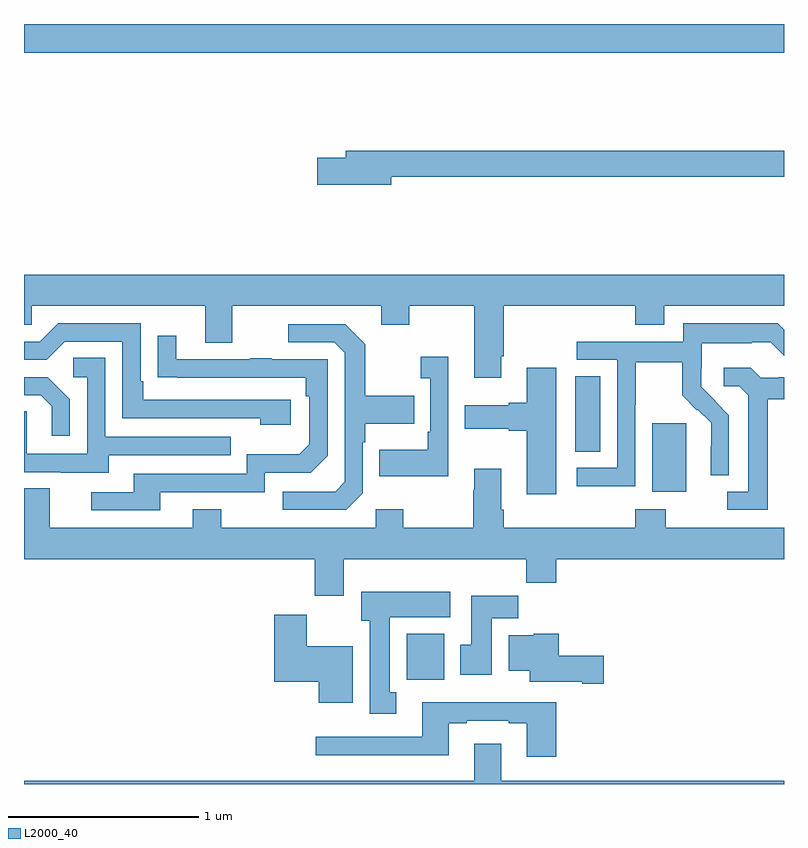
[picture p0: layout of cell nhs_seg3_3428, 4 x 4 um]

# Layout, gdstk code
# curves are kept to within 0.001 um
import gdstk
lib = gdstk.Library(unit=1e-6, precision=1e-09)
def R(c, l, rs):  # rectangles x0, y0, x1, y1
    for r in rs: c.add(gdstk.rectangle(r[:2], r[2:], *l))
def P(c, l, *ps):  # polygons
    for p in ps: c.add(gdstk.Polygon(p, *l))
L2000_40 = (2000, 40)

nhs_seg3_3428 = lib.new_cell('nhs_seg3_3428')
R(nhs_seg3_3428, L2000_40, [(291.014,698.948,291.211,699.19), (292.307,699.938,292.486,700.299), (291.902,700.15,292.033,700.547), (289,702.248,293,702.4)])
P(nhs_seg3_3428, L2000_40, [(290.932,701.596),(293,701.596),(293,701.732),(290.693,701.732),(290.693,701.696),(290.544,701.696),(290.544,701.554),(290.932,701.554)],
  [(289,700.818),(289.041,700.818),(289.041,700.916),(289.955,700.916),(289.955,700.722),(290.095,700.722),(290.095,700.916),(290.879,700.916),(290.879,700.817),(291.027,700.817),(291.027,700.916),(291.371,700.916),(291.371,700.539),(291.511,700.539),(291.511,700.651),(291.524,700.651),(291.524,700.916),(292.217,700.916),(292.217,700.817),(292.369,700.817),(292.369,700.916),(293,700.916),(293,701.08),(289,701.08)],
  [(292.218,700.396),(292.221,700.396),(292.221,700.62),(292.465,700.62),(292.465,700.445),(292.542,700.368),(292.545,700.371),(292.616,700.301),(292.616,700.178),(292.614,700.178),(292.614,700.024),(292.71,700.024),(292.71,700.342),(292.564,700.49),(292.564,700.587),(292.566,700.587),(292.566,700.721),(292.829,700.721),(292.829,700.725),(292.929,700.725),(293,700.654),(293,700.792),(292.967,700.825),(292.47,700.825),(292.47,700.728),(291.909,700.728),(291.909,700.632),(292.122,700.632),(292.122,700.065),(291.909,700.065),(291.909,699.967),(292.218,699.967)],
  [(290.404,700.422),(289.627,700.422),(289.627,700.519),(289.614,700.519),(289.614,700.824),(289.179,700.824),(289.083,700.728),(289,700.728),(289,700.632),(289.119,700.632),(289.215,700.728),(289.518,700.728),(289.518,700.326),(290.243,700.326),(290.243,700.292),(290.404,700.292)],
  [(290.784,699.93),(290.784,700.199),(290.797,700.199),(290.797,700.295),(291.053,700.295),(291.053,700.443),(290.797,700.443),(290.797,700.715),(290.691,700.821),(290.391,700.821),(290.391,700.725),(290.634,700.725),(290.688,700.671),(290.688,699.99),(290.637,699.939),(290.361,699.939),(290.361,699.843),(290.697,699.843)],
  [(289.717,699.936),(290.268,699.936),(290.268,700.038),(290.508,700.038),(290.598,700.128),(290.598,700.635),(290.303,700.635),(290.303,700.64),(290.191,700.64),(290.191,700.635),(289.801,700.635),(289.801,700.759),(289.705,700.759),(289.705,700.54),(290.482,700.539),(290.482,700.442),(290.502,700.442),(290.502,700.188),(290.449,700.135),(290.172,700.135),(290.172,700.032),(289.577,700.032),(289.577,699.936),(289.353,699.936),(289.353,699.84),(289.717,699.84)],
  [(291.234,700.648),(291.087,700.648),(291.087,700.535),(291.138,700.535),(291.138,700.255),(291.126,700.255),(291.126,700.159),(290.869,700.159),(290.869,700.019),(291.234,700.019)],
  [(289.447,700.131),(290.087,700.131),(290.087,700.227),(289.428,700.227),(289.428,700.643),(289.26,700.643),(289.26,700.542),(289.332,700.542),(289.332,700.137),(289.014,700.137),(289.014,700.361),(289,700.361),(289,700.041),(289.193,700.041),(289.193,700.037),(289.447,700.037)],
  [(291.802,700.591),(291.647,700.591),(291.647,700.406),(291.551,700.406),(291.551,700.393),(291.321,700.393),(291.321,700.271),(291.551,700.271),(291.551,700.259),(291.647,700.259),(291.647,699.924),(291.802,699.924)],
  [(292.915,700.424),(293,700.424),(293,700.542),(292.972,700.542),(292.972,700.539),(292.878,700.539),(292.826,700.591),(292.683,700.591),(292.683,700.494),(292.764,700.494),(292.811,700.447),(292.811,699.939),(292.701,699.939),(292.701,699.843),(292.915,699.843)],
  [(289.242,700.426),(289.126,700.542),(289,700.542),(289,700.446),(289.088,700.446),(289.145,700.389),(289.145,700.233),(289.242,700.233)],
  [(290.683,699.584),(291.643,699.584),(291.643,699.46),(291.8,699.46),(291.8,699.584),(293,699.584),(293,699.748),(292.377,699.748),(292.377,699.847),(292.217,699.847),(292.217,699.748),(291.524,699.748),(291.524,699.844),(291.511,699.844),(291.511,700.06),(291.371,700.06),(291.371,699.947),(291.364,699.947),(291.364,699.748),(290.997,699.748),(290.997,699.847),(290.85,699.847),(290.85,699.748),(290.037,699.748),(290.037,699.847),(289.889,699.847),(289.889,699.748),(289.135,699.748),(289.135,699.956),(289,699.956),(289,699.584),(290.531,699.584),(290.531,699.39),(290.683,699.39)],
  [(290.959,698.882),(290.926,698.882),(290.926,699.278),(291.244,699.278),(291.244,699.412),(290.774,699.412),(290.774,699.258),(290.819,699.258),(290.819,698.769),(290.959,698.769)],
  [(291.463,699.272),(291.602,699.272),(291.602,699.391),(291.353,699.391),(291.353,699.132),(291.296,699.132),(291.296,698.976),(291.463,698.976)],
  [(290.731,699.124),(290.488,699.124),(290.488,699.292),(290.318,699.292),(290.318,698.939),(290.552,698.939),(290.552,698.828),(290.731,698.828)],
  [(292.051,699.074),(291.815,699.074),(291.815,699.19),(291.684,699.19),(291.684,699.184),(291.551,699.184),(291.551,698.996),(291.662,698.996),(291.662,698.939),(291.938,698.939),(291.938,698.927),(292.051,698.927)],
  [(291.8,698.83),(291.095,698.83),(291.095,698.649),(290.535,698.649),(290.535,698.552),(291.235,698.552),(291.235,698.721),(291.331,698.721),(291.331,698.733),(291.551,698.733),(291.551,698.721),(291.647,698.721),(291.647,698.544),(291.8,698.544)],
  [(293,698.416),(291.511,698.416),(291.511,698.611),(291.371,698.611),(291.371,698.416),(289,698.416),(289,698.4),(293,698.4)])

lib.write_gds('nhs_seg3_3428.gds')
